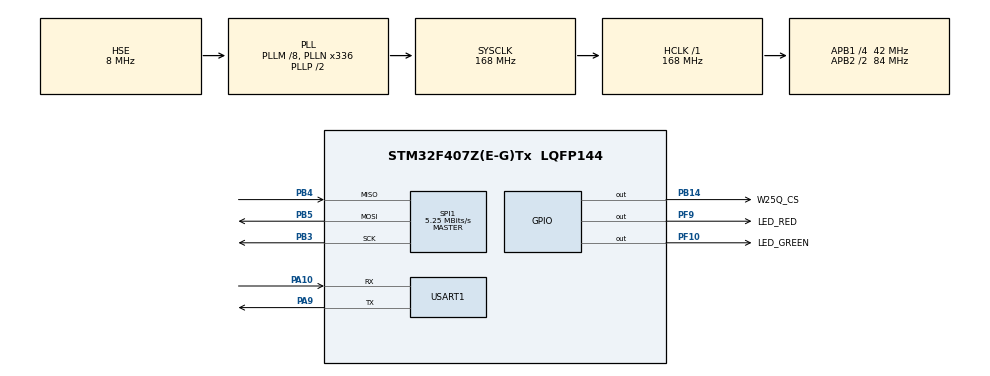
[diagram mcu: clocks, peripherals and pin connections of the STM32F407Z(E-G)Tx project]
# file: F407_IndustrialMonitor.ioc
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ADC1.Channel-0\#ChannelRegularConversion=ADC_CHANNEL_TEMPSENSOR
ADC1.ContinuousConvMode=ENABLE
ADC1.DMAContinuousRequests=ENABLE
ADC1.NbrOfConversionFlag=1
ADC1.Rank-0\#ChannelRegularConversion=1
ADC1.SamplingTime-0\#ChannelRegularConversion=ADC_SAMPLETIME_480CYCLES
ADC1.master=1
Dma.ADC1.0.Direction=DMA_PERIPH_TO_MEMORY
Dma.ADC1.0.FIFOMode=DMA_FIFOMODE_DISABLE
Dma.ADC1.0.Instance=DMA2_Stream0
Dma.ADC1.0.MemDataAlignment=DMA_MDATAALIGN_HALFWORD
Dma.ADC1.0.MemInc=DMA_MINC_ENABLE
Dma.ADC1.0.Mode=DMA_CIRCULAR
Dma.ADC1.0.PeriphDataAlignment=DMA_PDATAALIGN_HALFWORD
Dma.ADC1.0.PeriphInc=DMA_PINC_DISABLE
Dma.ADC1.0.Priority=DMA_PRIORITY_LOW
Dma.Request0=ADC1
Dma.Request1=USART1_RX
Dma.Request2=USART1_TX
Dma.USART1_RX.1.Direction=DMA_PERIPH_TO_MEMORY
Dma.USART1_RX.1.FIFOMode=DMA_FIFOMODE_DISABLE
Dma.USART1_RX.1.Instance=DMA2_Stream2
Dma.USART1_RX.1.MemDataAlignment=DMA_MDATAALIGN_BYTE
Dma.USART1_RX.1.MemInc=DMA_MINC_ENABLE
Dma.USART1_RX.1.Mode=DMA_CIRCULAR
Dma.USART1_RX.1.PeriphDataAlignment=DMA_PDATAALIGN_BYTE
Dma.USART1_RX.1.PeriphInc=DMA_PINC_DISABLE
Dma.USART1_RX.1.Priority=DMA_PRIORITY_MEDIUM
Dma.USART1_TX.2.Direction=DMA_MEMORY_TO_PERIPH
Dma.USART1_TX.2.FIFOMode=DMA_FIFOMODE_DISABLE
Dma.USART1_TX.2.Instance=DMA2_Stream7
Dma.USART1_TX.2.MemDataAlignment=DMA_MDATAALIGN_BYTE
Dma.USART1_TX.2.MemInc=DMA_MINC_ENABLE
Dma.USART1_TX.2.Mode=DMA_NORMAL
Dma.USART1_TX.2.PeriphDataAlignment=DMA_PDATAALIGN_BYTE
Dma.USART1_TX.2.PeriphInc=DMA_PINC_DISABLE
Dma.USART1_TX.2.Priority=DMA_PRIORITY_LOW
FREERTOS.Queues01=sensorQueue,8,SensorData_t,0,Dynamic,NULL,NULL
FREERTOS.Tasks01=defaultTask,24,128,StartDefaultTask,Default,NULL,Dynamic,NULL,NULL;SensorTask,24,128,StartSensorTask,Default,NULL,Dynamic,NULL,NULL;CommTask,24,128,StartCommTask,Default,NULL,Dynamic,NULL,NULL;MonitorTask,24,128,StartMonitorTask,Default,NULL,Dynamic,NULL,NULL
IWDG.Prescaler=IWDG_PRESCALER_64
IWDG.Reload=2499
Mcu.Family=STM32F4
Mcu.Name=STM32F407Z(E-G)Tx
Mcu.Package=LQFP144
NVIC.DMA2_Stream0_IRQn=true\:5\:0\:false\:false\:true\:true\:false\:true\:true
NVIC.DMA2_Stream2_IRQn=true\:5\:0\:false\:false\:true\:true\:false\:true\:true
NVIC.DMA2_Stream7_IRQn=true\:5\:0\:false\:false\:true\:true\:false\:true\:true
NVIC.PriorityGroup=NVIC_PRIORITYGROUP_4
NVIC.TIM6_DAC_IRQn=true\:15\:0\:false\:false\:true\:false\:false\:true\:true
NVIC.TimeBase=TIM6_DAC_IRQn
NVIC.TimeBaseIP=TIM6
NVIC.USART1_IRQn=true\:5\:0\:false\:false\:true\:true\:true\:true\:true
PA10.Mode=Asynchronous
PA10.Signal=USART1_RX
PA13.Mode=Serial_Wire
PA13.Signal=SYS_JTMS-SWDIO
PA14.Mode=Serial_Wire
PA14.Signal=SYS_JTCK-SWCLK
PA9.Mode=Asynchronous
PA9.Signal=USART1_TX
PB14.GPIO_Label=W25Q_CS
PB14.PinState=GPIO_PIN_SET
PB14.Signal=GPIO_Output
PB3.Mode=Full_Duplex_Master
PB3.Signal=SPI1_SCK
PB4.Mode=Full_Duplex_Master
PB4.Signal=SPI1_MISO
PB5.Mode=Full_Duplex_Master
PB5.Signal=SPI1_MOSI
PF10.GPIO_Label=LED_GREEN
PF10.PinState=GPIO_PIN_SET
PF10.Signal=GPIO_Output
PF9.GPIO_Label=LED_RED
PF9.PinState=GPIO_PIN_SET
PF9.Signal=GPIO_Output
PH0-OSC_IN.Mode=HSE-External-Oscillator
PH0-OSC_IN.Signal=RCC_OSC_IN
PH1-OSC_OUT.Mode=HSE-External-Oscillator
PH1-OSC_OUT.Signal=RCC_OSC_OUT
ProjectManager.HeapSize=0x200
ProjectManager.StackSize=0x400
ProjectManager.TargetToolchain=MDK-ARM V5.32
RCC.48MHZClocksFreq_Value=84000000
RCC.AHBFreq_Value=168000000
RCC.APB1CLKDivider=RCC_HCLK_DIV4
RCC.APB1Freq_Value=42000000
RCC.APB1TimFreq_Value=84000000
RCC.APB2CLKDivider=RCC_HCLK_DIV2
RCC.APB2Freq_Value=84000000
RCC.APB2TimFreq_Value=168000000
RCC.CortexFreq_Value=168000000
RCC.HCLKFreq_Value=168000000
RCC.HSE_VALUE=8000000
RCC.HSI_VALUE=16000000
RCC.LSE_VALUE=32768
RCC.PLLM=8
RCC.PLLN=336
RCC.PLLSourceVirtual=RCC_PLLSOURCE_HSE
RCC.SYSCLKFreq_VALUE=168000000
RCC.SYSCLKSource=RCC_SYSCLKSOURCE_PLLCLK
RCC.VCOOutputFreq_Value=336000000
SPI1.BaudRatePrescaler=SPI_BAUDRATEPRESCALER_16
SPI1.CalculateBaudRate=5.25 MBits/s
SPI1.Direction=SPI_DIRECTION_2LINES
SPI1.Mode=SPI_MODE_MASTER
SPI1.VirtualType=VM_MASTER
USART1.VirtualMode=VM_ASYNC
VP_ADC1_TempSens_Input.Mode=IN-TempSens
VP_FREERTOS_VS_CMSIS_V2.Mode=CMSIS_V2
VP_IWDG_VS_IWDG.Mode=IWDG_Activate
VP_SYS_VS_tim6.Mode=TIM6
board=custom

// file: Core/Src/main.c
/* USER CODE BEGIN Header */
/**
  ******************************************************************************
  * @file           : main.c
  * @brief          : Main program body
  ******************************************************************************
  * @attention
  *
  * Copyright (c) 2026 STMicroelectronics.
  * All rights reserved.
  *
  * This software is licensed under terms that can be found in the LICENSE file
  * in the root directory of this software component.
  * If no LICENSE file comes with this software, it is provided AS-IS.
  *
  ******************************************************************************
  */
/* USER CODE END Header */
#include "main.h"
#include "cmsis_os.h"
#include "adc.h"
#include "dma.h"
#include "iwdg.h"
#include "spi.h"
#include "usart.h"
#include "gpio.h"

/* USER CODE BEGIN Includes */
#include <string.h>
#include "app_main.h"
#include "bsp_w25q128.h"
#include "config_manager.h"
#include "error_manager.h"
#include "system_monitor.h"
/* USER CODE END Includes */

void SystemClock_Config(void);
void MX_FREERTOS_Init(void);

int main(void)
{

  /* MCU Configuration--------------------------------------------------------*/

  /* Reset of all peripherals, Initializes the Flash interface and the Systick. */
  HAL_Init();

  /* Configure the system clock */
  SystemClock_Config();

  /* Initialize all configured peripherals */
  MX_GPIO_Init();
  MX_DMA_Init();
  MX_USART1_UART_Init();
  MX_ADC1_Init();
  MX_SPI1_Init();
  MX_IWDG_Init();
  /* USER CODE BEGIN 2 */
	ErrorManager_Init();
	SystemMonitor_Init();

	if (BSP_W25Q128_Init() == HAL_OK)
	{
		ConfigManager_Init();
		if (g_configDebug.loadPassed == 0U)
		{
			ErrorManager_Report(ERROR_CONFIG_LOAD);
		}

#if CONFIG_MANAGER_SELF_TEST_ENABLE
		ConfigManager_SelfTest();
#endif
	}
	else
	{
		ErrorManager_Report(ERROR_FLASH_INIT);
	}

	App_Init();
	char bootMsg[] =
    "\r\n"
    "================================\r\n"
    "F407 Industrial Monitor Start\r\n"
    "Version: 0.1.1\r\n"
    "================================\r\n";

HAL_UART_Transmit(&huart1,
                  (uint8_t *)bootMsg,
                  strlen(bootMsg),
                  HAL_MAX_DELAY);
HAL_GPIO_WritePin(LED_RED_GPIO_Port,
                  LED_RED_Pin,
                  GPIO_PIN_RESET);

HAL_GPIO_WritePin(LED_GREEN_GPIO_Port,
                  LED_GREEN_Pin,
                  GPIO_PIN_SET);
  /* USER CODE END 2 */

  /* Init scheduler */
  osKernelInitialize();  /* Call init function for freertos objects (in cmsis_os2.c) */
  MX_FREERTOS_Init();

  /* Start scheduler */
  osKernelStart();

  /* We should never get here as control is now taken by the scheduler */

  /* Infinite loop */
  while (1)
  {

  }
}

void SystemClock_Config(void)
{
  RCC_OscInitTypeDef RCC_OscInitStruct = {0};
  RCC_ClkInitTypeDef RCC_ClkInitStruct = {0};

  /** Configure the main internal regulator output voltage
  */
  __HAL_RCC_PWR_CLK_ENABLE();
  __HAL_PWR_VOLTAGESCALING_CONFIG(PWR_REGULATOR_VOLTAGE_SCALE1);

  /** Initializes the RCC Oscillators according to the specified parameters
  * in the RCC_OscInitTypeDef structure.
  */
  RCC_OscInitStruct.OscillatorType = RCC_OSCILLATORTYPE_LSI|RCC_OSCILLATORTYPE_HSE;
  RCC_OscInitStruct.HSEState = RCC_HSE_ON;
  RCC_OscInitStruct.LSIState = RCC_LSI_ON;
  RCC_OscInitStruct.PLL.PLLState = RCC_PLL_ON;
  RCC_OscInitStruct.PLL.PLLSource = RCC_PLLSOURCE_HSE;
  RCC_OscInitStruct.PLL.PLLM = 8;
  RCC_OscInitStruct.PLL.PLLN = 336;
  RCC_OscInitStruct.PLL.PLLP = RCC_PLLP_DIV2;
  RCC_OscInitStruct.PLL.PLLQ = 4;
  if (HAL_RCC_OscConfig(&RCC_OscInitStruct) != HAL_OK)
  {
    Error_Handler();
  }

  /** Initializes the CPU, AHB and APB buses clocks
  */
  RCC_ClkInitStruct.ClockType = RCC_CLOCKTYPE_HCLK|RCC_CLOCKTYPE_SYSCLK
                              |RCC_CLOCKTYPE_PCLK1|RCC_CLOCKTYPE_PCLK2;
  RCC_ClkInitStruct.SYSCLKSource = RCC_SYSCLKSOURCE_PLLCLK;
  RCC_ClkInitStruct.AHBCLKDivider = RCC_SYSCLK_DIV1;
  RCC_ClkInitStruct.APB1CLKDivider = RCC_HCLK_DIV4;
  RCC_ClkInitStruct.APB2CLKDivider = RCC_HCLK_DIV2;

  if (HAL_RCC_ClockConfig(&RCC_ClkInitStruct, FLASH_LATENCY_5) != HAL_OK)
  {
    Error_Handler();
  }
}

void HAL_TIM_PeriodElapsedCallback(TIM_HandleTypeDef *htim)
{
  if (htim->Instance == TIM6)
  {
    HAL_IncTick();
  }
}

void Error_Handler(void)
{
  __disable_irq();
  while (1)
  {
  }
}

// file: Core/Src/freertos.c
/* USER CODE BEGIN Header */
/**
  ******************************************************************************
  * File Name          : freertos.c
  * Description        : Code for freertos applications
  ******************************************************************************
  * @attention
  *
  * Copyright (c) 2026 STMicroelectronics.
  * All rights reserved.
  *
  * This software is licensed under terms that can be found in the LICENSE file
  * in the root directory of this software component.
  * If no LICENSE file comes with this software, it is provided AS-IS.
  *
  ******************************************************************************
  */
/* USER CODE END Header */

#include "FreeRTOS.h"
#include "task.h"
#include "main.h"
#include "cmsis_os.h"

/* USER CODE BEGIN Includes */
#include "usart.h"
#include "sensor_manager.h"
#include "bsp_uart.h"
#include "cli.h"
#include "protocol.h"
#include "system_monitor.h"
#include <stdio.h>

/* USER CODE END Includes */

/* Definitions for defaultTask */
osThreadId_t defaultTaskHandle;
const osThreadAttr_t defaultTask_attributes = {
  .name = "defaultTask",
  .stack_size = 128 * 4,
  .priority = (osPriority_t) osPriorityNormal,
};
/* Definitions for SensorTask */
osThreadId_t SensorTaskHandle;
const osThreadAttr_t SensorTask_attributes = {
  .name = "SensorTask",
  .stack_size = 128 * 4,
  .priority = (osPriority_t) osPriorityNormal,
};
/* Definitions for CommTask */
osThreadId_t CommTaskHandle;
const osThreadAttr_t CommTask_attributes = {
  .name = "CommTask",
  /* Linker reports 648 bytes plus unknown snprintf-library usage on this path. */
  .stack_size = 384 * 4,
  .priority = (osPriority_t) osPriorityNormal,
};
/* Definitions for MonitorTask */
osThreadId_t MonitorTaskHandle;
const osThreadAttr_t MonitorTask_attributes = {
  .name = "MonitorTask",
  .stack_size = 128 * 4,
  .priority = (osPriority_t) osPriorityNormal,
};
/* Definitions for sensorQueue */
osMessageQueueId_t sensorQueueHandle;
const osMessageQueueAttr_t sensorQueue_attributes = {
  .name = "sensorQueue"
};

/* USER CODE BEGIN FunctionPrototypes */
static HAL_StatusTypeDef CommTask_SendResponse(uint8_t command,
                                               const uint8_t *payload,
                                               uint8_t payloadLength);
static void CommTask_HandleFrame(const ProtocolFrame_t *frame);
static void CommTask_ProcessRxByte(uint8_t data,
                                   ProtocolParser_t *parser,
                                   ProtocolFrame_t *frame,
                                   CliContext_t *cli,
                                   uint8_t *binaryFrameActive);

/* USER CODE END FunctionPrototypes */

void StartDefaultTask(void *argument);
void StartSensorTask(void *argument);
void StartCommTask(void *argument);
void StartMonitorTask(void *argument);

void MX_FREERTOS_Init(void); /* (MISRA C 2004 rule 8.1) */

void MX_FREERTOS_Init(void) {
  /* USER CODE BEGIN Init */
  SensorManager_Init();
  BSP_UART_Init();

  /* USER CODE END Init */

  /* Create the queue(s) */
  /* creation of sensorQueue */
  sensorQueueHandle = osMessageQueueNew (8, sizeof(SensorData_t), &sensorQueue_attributes);

  /* Create the thread(s) */
  /* creation of defaultTask */
  defaultTaskHandle = osThreadNew(StartDefaultTask, NULL, &defaultTask_attributes);

  /* creation of SensorTask */
  SensorTaskHandle = osThreadNew(StartSensorTask, NULL, &SensorTask_attributes);

  /* creation of CommTask */
  CommTaskHandle = osThreadNew(StartCommTask, NULL, &CommTask_attributes);

  /* creation of MonitorTask */
  MonitorTaskHandle = osThreadNew(StartMonitorTask, NULL, &MonitorTask_attributes);

}

void StartDefaultTask(void *argument)
{
  for(;;)
  {
    osDelay(1);
  }
}

void StartSensorTask(void *argument)
{
  /* USER CODE BEGIN StartSensorTask */
  SensorData_t sensorData;

  /* Infinite loop */
  for(;;)
  {
    HAL_GPIO_TogglePin(LED_RED_GPIO_Port, LED_RED_Pin);

    SensorManager_GetData(&sensorData);

    if (osMessageQueuePut(sensorQueueHandle, &sensorData, 0U, 0U) == osOK)
    {
#if SYSTEM_MONITOR_FAULT_INJECTION_ENABLE
      /* Development fault injection: SensorTask intentionally stops heartbeats. */
#else
      SystemMonitor_Heartbeat(SYSTEM_TASK_SENSOR);
#endif
    }

    osDelay(1000);
  }
  /* USER CODE END StartSensorTask */
}

void StartCommTask(void *argument)
{
  /* USER CODE BEGIN StartCommTask */
  ProtocolParser_t parser;
  ProtocolFrame_t frame;
  CliContext_t cli;
  SensorData_t queuedSensorData;
  uint8_t receivedData;
  uint8_t binaryFrameActive = 0U;

  Protocol_Init(&parser);
  CLI_Init(&cli);

  /* Infinite loop */
  for(;;)
  {
    BSP_UART_ProcessRx();

    while (osMessageQueueGet(sensorQueueHandle,
                             &queuedSensorData,
                             NULL,
                             0U) == osOK)
    {
      /* Keep the existing SensorTask queue from filling while UART owns CommTask. */
    }

    while (RingBuffer_Get(BSP_UART_GetRxRingBuffer(), &receivedData))
    {
      CommTask_ProcessRxByte(receivedData,
                             &parser,
                             &frame,
                             &cli,
                             &binaryFrameActive);
    }

    SystemMonitor_Heartbeat(SYSTEM_TASK_COMM);

    osDelay(5);
  }
  /* USER CODE END StartCommTask */
}

void StartMonitorTask(void *argument)
{
  /* USER CODE BEGIN StartMonitorTask */
  /* Infinite loop */
  for(;;)
  {
    SystemMonitor_Heartbeat(SYSTEM_TASK_MONITOR);
    SystemMonitor_Process();

    HAL_GPIO_TogglePin(LED_GREEN_GPIO_Port, LED_GREEN_Pin);

    osDelay(500);
  }

  /* USER CODE END StartMonitorTask */
}

/* USER CODE BEGIN Application */

static HAL_StatusTypeDef CommTask_SendResponse(uint8_t command,
                                               const uint8_t *payload,
                                               uint8_t payloadLength)
{
  uint8_t txFrame[PROTOCOL_MAX_FRAME_LENGTH];
  uint16_t txLength;

  txLength = Protocol_BuildFrame(command,
                                 payload,
                                 payloadLength,
                                 txFrame,
                                 sizeof(txFrame));

  if (txLength == 0U)
  {
    return HAL_ERROR;
  }

  return BSP_UART_Send(txFrame, txLength);
}

static void CommTask_HandleFrame(const ProtocolFrame_t *frame)
{
  static const uint8_t version[] = "F407_IndustrialMonitor V0.1.1";
  static const uint8_t status[] = "STATUS:OK";
  static const uint8_t reboot[] = "REBOOTING";
  SensorData_t sensorData;
  uint8_t sensorPayload[PROTOCOL_MAX_PAYLOAD_LENGTH];
  int payloadLength;

  if (frame == NULL)
  {
    return;
  }

  switch ((ProtocolCommand_t)frame->command)
  {
    case CMD_GET_VERSION:
      (void)CommTask_SendResponse(frame->command,
                                  version,
                                  (uint8_t)(sizeof(version) - 1U));
      break;

    case CMD_GET_STATUS:
      (void)CommTask_SendResponse(frame->command,
                                  status,
                                  (uint8_t)(sizeof(status) - 1U));
      break;

    case CMD_GET_SENSOR:
      SensorManager_GetData(&sensorData);
      payloadLength = snprintf((char *)sensorPayload,
                               sizeof(sensorPayload),
                               "Raw=%u Voltage=%.3fV Temp=%.1fC Tick=%lu",
                               (unsigned int)sensorData.adcRaw,
                               (double)sensorData.voltage,
                               (double)sensorData.temperature,
                               (unsigned long)sensorData.timestamp);

      if ((payloadLength > 0) &&
          (payloadLength < (int)sizeof(sensorPayload)))
      {
        (void)CommTask_SendResponse(frame->command,
                                    sensorPayload,
                                    (uint8_t)payloadLength);
      }
      break;

    case CMD_REBOOT:
      if (CommTask_SendResponse(frame->command,
                                reboot,
                                (uint8_t)(sizeof(reboot) - 1U)) == HAL_OK)
      {
        osDelay(20);
        NVIC_SystemReset();
      }
      break;

    default:
      break;
  }
}

static void CommTask_ProcessRxByte(uint8_t data,
                                   ProtocolParser_t *parser,
                                   ProtocolFrame_t *frame,
                                   CliContext_t *cli,
                                   uint8_t *binaryFrameActive)
{
  ProtocolParseResult_t parseResult;

  if ((parser == NULL) || (frame == NULL) || (cli == NULL) ||
      (binaryFrameActive == NULL))
  {
    return;
  }

  if (*binaryFrameActive != 0U)
  {
    parseResult = Protocol_ProcessByte(parser, data, frame);

    if (parseResult == PROTOCOL_PARSE_FRAME_READY)
    {
      CommTask_HandleFrame(frame);
    }

    *binaryFrameActive = Protocol_IsReceiving(parser) ? 1U : 0U;
    return;
  }

  if (data == PROTOCOL_HEADER_BYTE_0)
  {
    (void)Protocol_ProcessByte(parser, data, frame);
    *binaryFrameActive = Protocol_IsReceiving(parser) ? 1U : 0U;
  }
  else if (((data >= 0x20U) && (data <= 0x7EU)) ||
           (data == '\r') || (data == '\n'))
  {
    CLI_ProcessByte(cli, data);
  }
}

/* USER CODE END Application */
